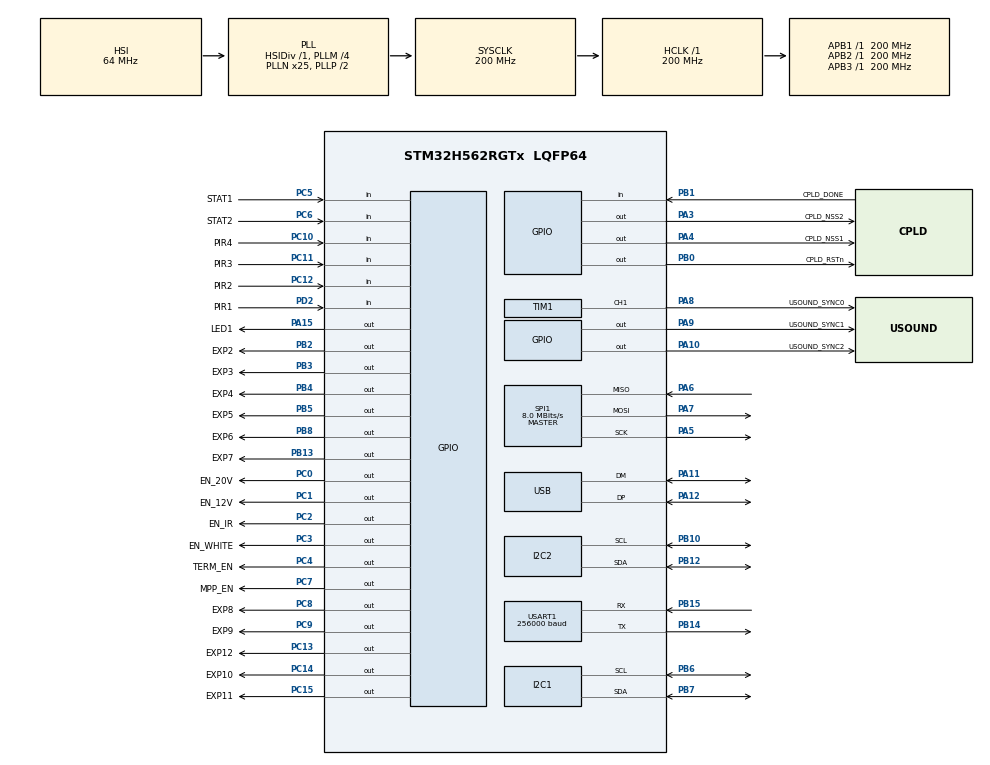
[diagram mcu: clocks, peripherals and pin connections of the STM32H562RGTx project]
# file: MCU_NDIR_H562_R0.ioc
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BOOTPATH.BootPathName=LEGACY
BOOTPATH.UserSelectedBootPath=LEGACY
CORTEX_M33_NS.userName=CORTEX_M33
I2C1.I2C_Fall_Time=20
I2C1.I2C_Rise_Time=20
I2C1.Speed=50
I2C1.Timing=0x7060EFFF
I2C2.I2C_Fall_Time=100
I2C2.I2C_Rise_Time=100
I2C2.Timing=0x7081628E
IWDG.Prescaler=IWDG_PRESCALER_64
Mcu.Family=STM32H5
Mcu.Name=STM32H562RGTx
Mcu.Package=LQFP64
NVIC.PriorityGroup=NVIC_PRIORITYGROUP_4
NVIC.SPI1_IRQn=true\:0\:0\:false\:false\:true\:true\:true\:true
NVIC.USART1_IRQn=true\:0\:0\:false\:false\:true\:true\:true\:true
NVIC.USB_DRD_FS_IRQn=true\:0\:0\:false\:false\:true\:true\:true\:true
PA10.GPIO_Label=USOUND_SYNC2
PA10.Signal=GPIO_Output
PA11.Mode=Device
PA11.Signal=USB_DM
PA12.Mode=Device
PA12.Signal=USB_DP
PA15(JTDI).GPIO_Label=LED1
PA15(JTDI).Signal=GPIO_Output
PA3.GPIO_Label=CPLD_NSS2
PA3.Signal=GPIO_Output
PA4.GPIO_Label=CPLD_NSS1
PA4.PinState=GPIO_PIN_SET
PA4.Signal=GPIO_Output
PA5.Mode=Full_Duplex_Master
PA5.Signal=SPI1_SCK
PA6.Mode=Full_Duplex_Master
PA6.Signal=SPI1_MISO
PA7.Mode=Full_Duplex_Master
PA7.Signal=SPI1_MOSI
PA8.GPIO_Label=USOUND_SYNC0
PA8.Signal=S_TIM1_CH1
PA9.GPIO_Label=USOUND_SYNC1
PA9.Signal=GPIO_Output
PB0.GPIO_Label=CPLD_RSTn
PB0.Signal=GPIO_Output
PB1.GPIO_Label=CPLD_DONE
PB1.GPIO_PuPd=GPIO_PULLUP
PB1.Signal=GPIO_Input
PB10.Mode=I2C
PB10.Signal=I2C2_SCL
PB12.Mode=I2C
PB12.Signal=I2C2_SDA
PB13.GPIO_Label=EXP7
PB13.Signal=GPIO_Output
PB14.Mode=Asynchronous
PB14.Signal=USART1_TX
PB15.Mode=Asynchronous
PB15.Signal=USART1_RX
PB2.GPIO_Label=EXP2
PB2.Signal=GPIO_Output
PB3(JTDO/TRACESWO).GPIO_Label=EXP3
PB3(JTDO/TRACESWO).Signal=GPIO_Output
PB4(NJTRST).GPIO_Label=EXP4
PB4(NJTRST).Signal=GPIO_Output
PB5.GPIO_Label=EXP5
PB5.Signal=GPIO_Output
PB6.GPIO_Pu=GPIO_PULLUP
PB6.Mode=I2C
PB6.Signal=I2C1_SCL
PB7.GPIO_Pu=GPIO_PULLUP
PB7.Mode=I2C
PB7.Signal=I2C1_SDA
PB8.GPIO_Label=EXP6
PB8.Signal=GPIO_Output
PC0.GPIO_Label=EN_20V
PC0.Signal=GPIO_Output
PC1.GPIO_Label=EN_12V
PC1.PinState=GPIO_PIN_SET
PC1.Signal=GPIO_Output
PC10.GPIO_Label=PIR4
PC10.GPIO_PuPd=GPIO_NOPULL
PC10.Signal=GPIO_Input
PC11.GPIO_Label=PIR3
PC11.GPIO_PuPd=GPIO_NOPULL
PC11.Signal=GPIO_Input
PC12.GPIO_Label=PIR2
PC12.GPIO_PuPd=GPIO_NOPULL
PC12.Signal=GPIO_Input
PC13.GPIO_Label=EXP12
PC13.Signal=GPIO_Output
PC14-OSC32_IN(OSC32_IN).GPIO_Label=EXP10
PC14-OSC32_IN(OSC32_IN).Signal=GPIO_Output
PC15-OSC32_OUT(OSC32_OUT).GPIO_Label=EXP11
PC15-OSC32_OUT(OSC32_OUT).Signal=GPIO_Output
PC2.GPIO_Label=EN_IR
PC2.Signal=GPIO_Output
PC3.GPIO_Label=EN_WHITE
PC3.Signal=GPIO_Output
PC4.GPIO_Label=TERM_EN
PC4.Signal=GPIO_Output
PC5.GPIO_Label=STAT1
PC5.GPIO_PuPd=GPIO_PULLUP
PC5.Signal=GPIO_Input
PC6.GPIO_Label=STAT2
PC6.GPIO_PuPd=GPIO_PULLUP
PC6.Signal=GPIO_Input
PC7.GPIO_Label=MPP_EN
PC7.Signal=GPIO_Output
PC8.GPIO_Label=EXP8
PC8.Signal=GPIO_Output
PC9.GPIO_Label=EXP9
PC9.Signal=GPIO_Output
PD2.GPIO_Label=PIR1
PD2.GPIO_PuPd=GPIO_NOPULL
PD2.Signal=GPIO_Input
PH0-OSC_IN(PH0).Mode=HSE-External-Oscillator
PH0-OSC_IN(PH0).Signal=RCC_OSC_IN
PH1-OSC_OUT(PH1).Mode=HSE-External-Oscillator
PH1-OSC_OUT(PH1).Signal=RCC_OSC_OUT
ProjectManager.HeapSize=0x300
ProjectManager.StackSize=0x10000
ProjectManager.TargetToolchain=STM32CubeIDE
RCC.ADCCLockSelection=RCC_ADCDACCLKSOURCE_HSE
RCC.ADCFreq_Value=24000000
RCC.AHBFreq_Value=200000000
RCC.APB1Freq_Value=200000000
RCC.APB1TimFreq_Value=200000000
RCC.APB2Freq_Value=200000000
RCC.APB2TimFreq_Value=200000000
RCC.APB3Freq_Value=200000000
RCC.CSI_VALUE=4000000
RCC.CortexFreq_Value=200000000
RCC.EPOD_VALUE=64000000
RCC.HCLKFreq_Value=200000000
RCC.HSE_VALUE=24000000
RCC.HSI48_VALUE=48000000
RCC.HSIDiv=RCC_HSI_DIV1
RCC.HSI_VALUE=64000000
RCC.LSE_VALUE=32768
RCC.LSIRC_VALUE=32000
RCC.PLL1Q=50
RCC.PLL2M=5
RCC.PLL2N=16
RCC.PLL2Q=25
RCC.PLL2Source=RCC_PLL2_SOURCE_HSI
RCC.PLLFRACN=0
RCC.PLLM=4
RCC.PLLN=25
RCC.PLLSourceVirtual=RCC_PLL1_SOURCE_HSI
RCC.SPI1CLockSelection=RCC_SPI1CLKSOURCE_CLKP
RCC.SYSCLKFreq_VALUE=200000000
RCC.SYSCLKSource=RCC_SYSCLKSOURCE_PLLCLK
RCC.USBFreq_Value=48000000
RCC.VCOOutputFreq_Value=400000000
SH.S_TIM1_CH1.0=TIM1_CH1,PWM Generation1 CH1
SPI1.BaudRatePrescaler=SPI_BAUDRATEPRESCALER_8
SPI1.CLKPhase=SPI_PHASE_2EDGE
SPI1.CLKPolarity=SPI_POLARITY_HIGH
SPI1.CalculateBaudRate=8.0 MBits/s
SPI1.DataSize=SPI_DATASIZE_8BIT
SPI1.Direction=SPI_DIRECTION_2LINES
SPI1.FirstBit=SPI_FIRSTBIT_MSB
SPI1.Mode=SPI_MODE_MASTER
SPI1.VirtualType=VM_MASTER
TIM1.Channel-PWM\ Generation1\ CH1=TIM_CHANNEL_1
USART1.BaudRate=256000
USART1.VirtualMode=VM_ASYNC
USART1.VirtualMode-Asynchronous=VM_ASYNC
USB.VirtualMode=Device_Only
VP_BOOTPATH_VS_BOOTPATH.Mode=BP_Activate
VP_CORTEX_M33_NS_VS_Hclk.Mode=Hclk_Mode
VP_DCACHE1_VS_DCACHE.Mode=DCACHE_Activate
VP_ICACHE_VS_ENABLE_ICACHE_MEMORY.Mode=Memoryregions
VP_ICACHE_VS_ICACHE.Mode=DirectMappedCache
VP_IWDG_VS_IWDG.Mode=IWDG_Activate
VP_MEMORYMAP_VS_MEMORYMAP.Mode=CurAppReg
VP_PWR_VS_DBSignals.Mode=DisableDeadBatterySignals
VP_PWR_VS_LPOM.Mode=PowerOptimisation
VP_PWR_VS_SECSignals.Mode=Security/Privilege
VP_RTC_VS_RTC_Activate.Mode=RTC_Enabled
VP_RTC_VS_RTC_Calendar.Mode=RTC_Calendar
VP_TIM16_VS_ClockSourceINT.Mode=Enable_Timer
board=custom

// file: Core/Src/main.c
/* USER CODE BEGIN Header */
/**
  ******************************************************************************
  * @file           : main.c
  * @brief          : Main program body
  ******************************************************************************
  * @attention
  *
  * Copyright (c) 2024 STMicroelectronics.
  * All rights reserved.
  *
  * This software is licensed under terms that can be found in the LICENSE file
  * in the root directory of this software component.
  * If no LICENSE file comes with this software, it is provided AS-IS.
  *
  ******************************************************************************
  */
/* USER CODE END Header */
#include "main.h"
#include "i2c.h"
#include "rtc.h"
#include "spi.h"
#include "tim.h"
#include "usb.h"
#include "gpio.h"

/* USER CODE BEGIN Includes */
#include "memorymap.h"
#include <stdio.h>
#include "bsp.h"
#include "kedOS.h"
#include "blink_task.h"
#include "shell_task.h"
#include "bme_task.h"
#include "pir_task.h"
#include "ice40_programmer.h"
#include "sensors_task.h"
#include "cachel1_armv7.h"
#include "icache.h"
#include "dcache.h"
#include "iwdg.h"
#include "hailo_task.h"
#include "rtc_task.h"
#include "serial_com_task.h"
#include "radar_task.h"
/* USER CODE END Includes */

void SystemClock_Config(void);
void PeriphCommonClock_Config(void);

/* USER CODE BEGIN 0 */
static void OS_Task_Init();
void (*main_dispatcher) (void);
void (*isr_dispatcher) (void);
/* USER CODE END 0 */

int main(void)
{

  /* USER CODE BEGIN 1 */
  SCB->VTOR = 0x08000000U + 0x00020000U;  // se non già fatto da SystemInit
  __DSB();
  __ISB();
  /* USER CODE END 1 */

  /* MCU Configuration--------------------------------------------------------*/

  /* Reset of all peripherals, Initializes the Flash interface and the Systick. */
  HAL_Init();

  /* USER CODE BEGIN Init */
  MX_IWDG_Init();                  // oppure almeno un HAL_IWDG_Refresh() precoce
  HAL_IWDG_Refresh(&hiwdg);
  if (ICACHE->CR & ICACHE_CR_EN) { HAL_ICACHE_Disable(); __DSB(); __ISB(); }
  SCB_InvalidateICache();

  #if defined(__DCACHE_PRESENT) && (__DCACHE_PRESENT==1)
  SCB_CleanDCache();
  SCB_InvalidateDCache();
  #endif

  MX_ICACHE_Init();
  MX_DCACHE1_Init();

  /* USER CODE END Init */

  /* Configure the system clock */
  SystemClock_Config();

  /* Configure the peripherals common clocks */
  PeriphCommonClock_Config();

  /* Initialize all configured peripherals */
  MX_GPIO_Init();
  MX_SPI1_Init();
  MX_USB_PCD_Init();
  MX_I2C1_Init();
  MX_TIM1_Init();
  MX_TIM16_Init();
  MX_I2C2_Init();
  MX_RTC_Init();
  /* USER CODE BEGIN 2 */
  HAL_GPIO_WritePin(EN_12V_GPIO_Port, EN_12V_Pin, GPIO_PIN_SET);
  __HAL_RCC_USART1_CLK_ENABLE();
  USART1->CR1 = 0; USART1->CR2 = 0; USART1->CR3 = 0; USART1->ICR = 0xFFFFFFFF;
  MX_USART1_UART_Init();
  //ice40_programming();
  //HAL_Delay(100);

  OS_Task_Init();
  /* USER CODE END 2 */

  /* Infinite loop */
  while (1)
  {

    /* USER CODE BEGIN 3 */
	main_dispatcher();
  }
  /* USER CODE END 3 */
}

void SystemClock_Config(void)
{
  RCC_OscInitTypeDef RCC_OscInitStruct = {0};
  RCC_ClkInitTypeDef RCC_ClkInitStruct = {0};

  /** Configure the main internal regulator output voltage
  */
  __HAL_PWR_VOLTAGESCALING_CONFIG(PWR_REGULATOR_VOLTAGE_SCALE1);

  while(!__HAL_PWR_GET_FLAG(PWR_FLAG_VOSRDY)) {}

  /** Initializes the RCC Oscillators according to the specified parameters
  * in the RCC_OscInitTypeDef structure.
  */
  RCC_OscInitStruct.OscillatorType = RCC_OSCILLATORTYPE_HSI48|RCC_OSCILLATORTYPE_HSI
                              |RCC_OSCILLATORTYPE_LSI;
  RCC_OscInitStruct.HSIState = RCC_HSI_ON;
  RCC_OscInitStruct.HSIDiv = RCC_HSI_DIV1;
  RCC_OscInitStruct.HSICalibrationValue = RCC_HSICALIBRATION_DEFAULT;
  RCC_OscInitStruct.LSIState = RCC_LSI_ON;
  RCC_OscInitStruct.HSI48State = RCC_HSI48_ON;
  RCC_OscInitStruct.PLL.PLLState = RCC_PLL_ON;
  RCC_OscInitStruct.PLL.PLLSource = RCC_PLL1_SOURCE_HSI;
  RCC_OscInitStruct.PLL.PLLM = 4;
  RCC_OscInitStruct.PLL.PLLN = 25;
  RCC_OscInitStruct.PLL.PLLP = 2;
  RCC_OscInitStruct.PLL.PLLQ = 50;
  RCC_OscInitStruct.PLL.PLLR = 2;
  RCC_OscInitStruct.PLL.PLLRGE = RCC_PLL1_VCIRANGE_3;
  RCC_OscInitStruct.PLL.PLLVCOSEL = RCC_PLL1_VCORANGE_WIDE;
  RCC_OscInitStruct.PLL.PLLFRACN = 0;
  if (HAL_RCC_OscConfig(&RCC_OscInitStruct) != HAL_OK)
  {
    Error_Handler();
  }

  /** Initializes the CPU, AHB and APB buses clocks
  */
  RCC_ClkInitStruct.ClockType = RCC_CLOCKTYPE_HCLK|RCC_CLOCKTYPE_SYSCLK
                              |RCC_CLOCKTYPE_PCLK1|RCC_CLOCKTYPE_PCLK2
                              |RCC_CLOCKTYPE_PCLK3;
  RCC_ClkInitStruct.SYSCLKSource = RCC_SYSCLKSOURCE_PLLCLK;
  RCC_ClkInitStruct.AHBCLKDivider = RCC_SYSCLK_DIV1;
  RCC_ClkInitStruct.APB1CLKDivider = RCC_HCLK_DIV1;
  RCC_ClkInitStruct.APB2CLKDivider = RCC_HCLK_DIV1;
  RCC_ClkInitStruct.APB3CLKDivider = RCC_HCLK_DIV1;

  if (HAL_RCC_ClockConfig(&RCC_ClkInitStruct, FLASH_LATENCY_5) != HAL_OK)
  {
    Error_Handler();
  }

  /** Configure the programming delay
  */
  __HAL_FLASH_SET_PROGRAM_DELAY(FLASH_PROGRAMMING_DELAY_2);
}

void PeriphCommonClock_Config(void)
{
  RCC_PeriphCLKInitTypeDef PeriphClkInitStruct = {0};

  /** Initializes the peripherals clock
  */
  PeriphClkInitStruct.PeriphClockSelection = RCC_PERIPHCLK_CKPER;
  PeriphClkInitStruct.CkperClockSelection = RCC_CLKPSOURCE_HSI;
  if (HAL_RCCEx_PeriphCLKConfig(&PeriphClkInitStruct) != HAL_OK)
  {
    Error_Handler();
  }
}

/* USER CODE BEGIN 4 */
static void OS_Task_Init()
{
	init_os(&main_dispatcher, &isr_dispatcher);
	blink_task_init();//heart beat, non abilitare
    rtc_task_init();//avvio del task rtc
	bme_task_init();
	shell_task_init();
	sensors_task_init();
	pir_task_init();
	cp_uart_init();
	hailo_task_init();
	radar_task_init();
}
/* USER CODE END 4 */

void Error_Handler(void)
{
  __disable_irq();
  while (1)
  {
  }
}
